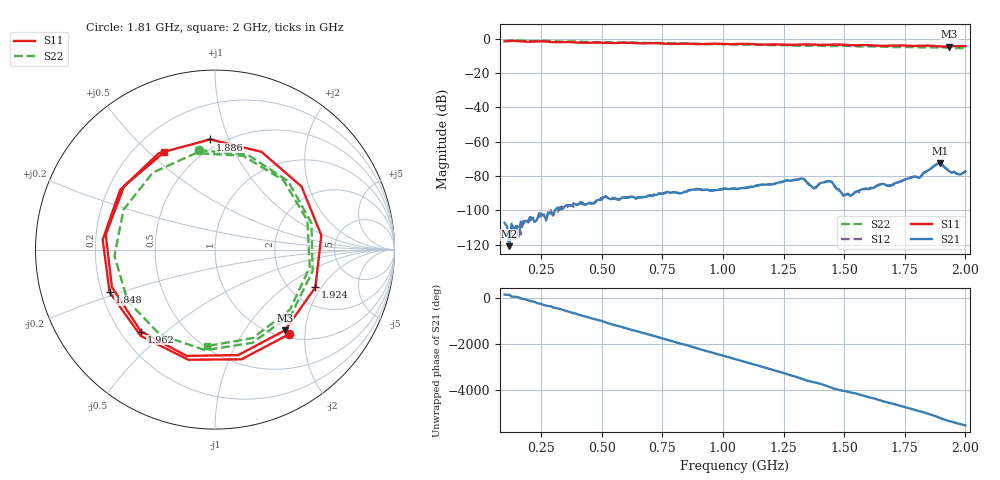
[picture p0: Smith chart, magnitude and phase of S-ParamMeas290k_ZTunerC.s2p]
!Keysight Technologies,N5242B,MY48420967,A.15.65.19
!Date: Thursday, December 22, 2022 14:16:36
!Correction: S11(C  2-Port  )
!S21(C  2-Port  )
!S12(C  2-Port  )
!S22(C  2-Port  )
!S2P File: Measurements: S11, S21, S12, S22:
# Hz S  dB  R 50
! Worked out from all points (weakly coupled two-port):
!   201 points, 100 MHz to 2 GHz, reference 50 ohm
!   highest |S21| = -72.62 dB at 1.895 GHz (marker M1); lowest = -120.9 dB at 119 MHz (marker M2)
!   lowest |S11| = -4.5 dB at 1.933 GHz (marker M3), VSWR 3.94, Z = 56.1 - j78.2 ohm
!   |S11| at or under -10 dB: nowhere
!   |S22| runs from -5.4 to -1.0 dB; largest |S21 - S12| = 7.2e-06
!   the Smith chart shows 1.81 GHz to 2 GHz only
!   S11 on the Smith chart (normalised r, x): 1.81 GHz: 1.07, -1.66; 1.848 GHz: 0.23, -0.18; 1.886 GHz: 0.43, +0.86; 1.924 GHz: 2.70, -1.76; 1.962 GHz: 0.28, -0.41; 2 GHz: 0.32, +0.56
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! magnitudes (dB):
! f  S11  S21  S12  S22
! 100 MHz  -1.5  -107.4  -113.2  -1.2
! 119 MHz  -1.2  -120.9  -112.2  -1.1
! 423 MHz  -2.3  -95.9  -96.6  -1.8
! 736.5 MHz  -2.6  -90.1  -90.5  -2.4
! 784 MHz  -3.0  -90.0  -89.8  -2.6
! 1.05 GHz  -3.0  -87.4  -87.4  -3.3
! 1.278 GHz  -3.6  -82.9  -82.9  -3.8
! 1.373 GHz  -3.4  -87.2  -86.8  -4.0
! 1.687 GHz  -4.0  -85.5  -85.7  -4.8
! 1.81 GHz  -4.1  -81.2  -81.0  -5.0
! 1.819 GHz  -4.0  -79.6  -79.7  -5.0
! 1.829 GHz  -4.0  -78.1  -78.1  -5.1
! 1.848 GHz  -4.0  -76.7  -76.6  -5.1
! 1.886 GHz  -4.2  -72.8  -72.8  -5.0
! 1.895 GHz  -4.4  -72.6  -72.6  -5.0
! 1.924 GHz  -4.5  -76.0  -76.0  -5.2
! 1.933 GHz  -4.5  -77.2  -77.0  -5.2
! 1.943 GHz  -4.4  -78.0  -78.1  -5.3
! 1.952 GHz  -4.3  -77.5  -77.6  -5.3
! 1.962 GHz  -4.2  -78.4  -78.6  -5.4
! 1.981 GHz  -4.2  -79.1  -79.1  -5.4
! 2 GHz  -4.3  -77.3  -77.3  -5.4
